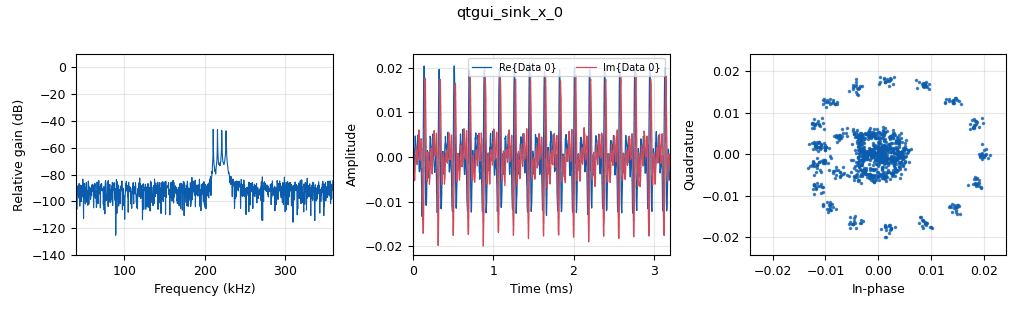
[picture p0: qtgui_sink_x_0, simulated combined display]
options:
  parameters:
    author: Bao Trong Truong
    generate_options: qt_gui
    id: distancewithvariableblock
    output_language: python
    title: Distance via variable
  states: {}

blocks:
- name: distance1_sq
  id: variable
  parameters:
    value: (x1-x_ref)**2 +(y1-y_ref)**2
  states: {}
- name: distance2_sq
  id: variable
  parameters:
    value: (x2-x_ref)**2 +(y2-y_ref)**2
  states: {}
- name: distance3_sq
  id: variable
  parameters:
    value: (x3-x_ref)**2 +(y3-y_ref)**2
  states: {}
- name: distance4_sq
  id: variable
  parameters:
    value: (x4-x_ref)**2 +(y4-y_ref)**2
  states: {}
- name: distance_1
  id: variable
  parameters:
    value: math.sqrt(distance1_sq)
  states: {}
- name: distance_2
  id: variable
  parameters:
    value: math.sqrt(distance2_sq)
  states: {}
- name: distance_3
  id: variable
  parameters:
    value: math.sqrt(distance3_sq)
  states: {}
- name: distance_4
  id: variable
  parameters:
    value: math.sqrt(distance4_sq)
  states: {}
- name: noise
  id: variable_qtgui_range
  parameters:
    label: noise
    start: '0'
    step: '10e-5'
    stop: '100e-4'
    value: '10e-4'
  states: {}
- name: samp_rate
  id: variable
  parameters:
    value: 3000e3
  states: {}
- name: x1
  id: variable
  parameters:
    value: '-10'
  states: {}
- name: x2
  id: variable
  parameters:
    value: '10'
  states: {}
- name: x3
  id: variable
  parameters:
    value: '10'
  states: {}
- name: x4
  id: variable
  parameters:
    value: '-10'
  states: {}
- name: x_ref
  id: variable_qtgui_range
  parameters:
    start: '-10'
    step: '1'
    stop: '10'
    value: '0'
  states: {}
- name: y1
  id: variable
  parameters:
    value: '10'
  states: {}
- name: y2
  id: variable
  parameters:
    value: '10'
  states: {}
- name: y3
  id: variable
  parameters:
    value: '-10'
  states: {}
- name: y4
  id: variable
  parameters:
    value: '-10'
  states: {}
- name: y_ref
  id: variable_qtgui_range
  parameters:
    start: '-10'
    step: '1'
    stop: '10'
    value: '0'
  states: {}
- name: Distance_From_Points_To_Ref_point
  id: qtgui_number_sink
  parameters:
    graph_type: qtgui.NUM_GRAPH_NONE
    label1: Distance 1
    label2: Distance 2
    label3: Distance 3
    label4: Distance 4
    nconnections: '4'
    type: float
  states: {}
- name: analog_const_source_x_0
  id: analog_const_source_x
  parameters:
    const: distance_1
    type: float
  states: {}
- name: analog_const_source_x_0_0
  id: analog_const_source_x
  parameters:
    const: distance_2
    type: float
  states: {}
- name: analog_const_source_x_0_0_0
  id: analog_const_source_x
  parameters:
    const: y2
    type: float
  states: {}
- name: analog_const_source_x_0_0_1
  id: analog_const_source_x
  parameters:
    const: y3
    type: float
  states: {}
- name: analog_const_source_x_0_0_2
  id: analog_const_source_x
  parameters:
    const: y4
    type: float
  states: {}
- name: analog_const_source_x_0_0_3
  id: analog_const_source_x
  parameters:
    const: y_ref
    type: float
  states: {}
- name: analog_const_source_x_0_0_4
  id: analog_const_source_x
  parameters:
    const: y1
    type: float
  states: {}
- name: analog_const_source_x_0_1
  id: analog_const_source_x
  parameters:
    const: distance_3
    type: float
  states: {}
- name: analog_const_source_x_0_1_0
  id: analog_const_source_x
  parameters:
    const: x2
    type: float
  states: {}
- name: analog_const_source_x_0_2
  id: analog_const_source_x
  parameters:
    const: distance_4
    type: float
  states: {}
- name: analog_const_source_x_0_2_0
  id: analog_const_source_x
  parameters:
    const: x3
    type: float
  states: {}
- name: analog_const_source_x_0_3
  id: analog_const_source_x
  parameters:
    const: x_ref
    type: float
  states: {}
- name: analog_const_source_x_0_3_0
  id: analog_const_source_x
  parameters:
    const: x4
    type: float
  states: {}
- name: analog_const_source_x_0_4
  id: analog_const_source_x
  parameters:
    const: x1
    type: float
  states: {}
- name: analog_noise_source_x_0
  id: analog_noise_source_x
  parameters:
    amp: noise
    noise_type: analog.GR_GAUSSIAN
    seed: '0'
    type: complex
  states: {}
- name: analog_sig_source_x_0
  id: analog_sig_source_x
  parameters:
    amp: '1'
    freq: 100e3
    offset: '0'
    phase: '0'
    samp_rate: samp_rate
    type: complex
    waveform: analog.GR_COS_WAVE
  states: {}
- name: analog_sig_source_x_0_0
  id: analog_sig_source_x
  parameters:
    amp: '1'
    freq: 150e3
    offset: '0'
    phase: '0'
    samp_rate: samp_rate
    type: complex
    waveform: analog.GR_COS_WAVE
  states: {}
- name: analog_sig_source_x_0_1
  id: analog_sig_source_x
  parameters:
    amp: '1'
    freq: 200e3
    offset: '0'
    phase: '0'
    samp_rate: samp_rate
    type: complex
    waveform: analog.GR_COS_WAVE
  states: {}
- name: analog_sig_source_x_0_2
  id: analog_sig_source_x
  parameters:
    amp: '1'
    freq: 250e3
    offset: '0'
    phase: '0'
    samp_rate: samp_rate
    type: complex
    waveform: analog.GR_COS_WAVE
  states: {}
- name: blocks_add_xx_1
  id: blocks_add_xx
  parameters:
    num_inputs: '5'
    type: complex
  states: {}
- name: blocks_multiply_const_vxx_1
  id: blocks_multiply_const_vxx
  parameters:
    const: 1/(distance1_sq)
    type: complex
  states: {}
- name: blocks_multiply_const_vxx_1_0
  id: blocks_multiply_const_vxx
  parameters:
    const: 1/(distance2_sq)
    type: complex
  states: {}
- name: blocks_multiply_const_vxx_1_1
  id: blocks_multiply_const_vxx
  parameters:
    const: 1/(distance3_sq)
    type: complex
  states: {}
- name: blocks_multiply_const_vxx_1_2
  id: blocks_multiply_const_vxx
  parameters:
    const: 1/(distance4_sq)
    type: complex
  states: {}
- name: blocks_throttle2_0
  id: blocks_throttle2
  parameters:
    samples_per_second: samp_rate
    type: complex
  states: {}
- name: blocks_throttle2_0_0
  id: blocks_throttle2
  parameters:
    samples_per_second: samp_rate
    type: complex
  states: {}
- name: blocks_throttle2_0_1
  id: blocks_throttle2
  parameters:
    samples_per_second: samp_rate
    type: complex
  states: {}
- name: blocks_throttle2_0_2
  id: blocks_throttle2
  parameters:
    samples_per_second: samp_rate
    type: complex
  states: {}
- name: import_0
  id: import
  parameters:
    imports: import math
  states: {}
- name: note_0
  id: note
  parameters:
    note: Point 4
  states: {}
- name: note_0_0
  id: note
  parameters:
    note: Point 1
  states: {}
- name: note_0_1
  id: note
  parameters:
    note: Point 3
  states: {}
- name: note_0_2
  id: note
  parameters:
    note: Point 2
  states: {}
- name: note_0_3
  id: note
  parameters:
    note: Reference point
  states: {}
- name: note_1
  id: note
  parameters:
    note: distance_1
  states: {}
- name: note_1_0
  id: note
  parameters:
    note: distance_2
  states: {}
- name: note_1_1
  id: note
  parameters:
    note: distance_3
  states: {}
- name: note_1_2
  id: note
  parameters:
    note: distance_4
  states: {}
- name: note_2
  id: note
  parameters:
    note: observe distances from ref_point
  states: {}
- name: note_3
  id: note
  parameters:
    note: 1/distance_sq
  states: {}
- name: note_3_0
  id: note
  parameters:
    note: 1/distance_sq
  states: {}
- name: note_3_1
  id: note
  parameters:
    note: 1/distance_sq
  states: {}
- name: note_3_2
  id: note
  parameters:
    note: 1/distance_sq
  states: {}
- name: point_coordinate_0
  id: point_coordinate
  parameters:
    samp_rate: '100'
  states: {}
- name: point_coordinate_0_0
  id: point_coordinate
  parameters:
    samp_rate: '100'
  states: {}
- name: point_coordinate_0_1
  id: point_coordinate
  parameters:
    samp_rate: '100'
  states: {}
- name: point_coordinate_0_2
  id: point_coordinate
  parameters:
    samp_rate: '100'
  states: {}
- name: point_coordinate_0_3
  id: point_coordinate
  parameters:
    samp_rate: '100'
  states: {}
- name: qtgui_const_sink_x_0
  id: qtgui_const_sink_x
  parameters:
    autoscale: 'True'
    color1: '"green"'
    color2: '"magenta"'
    color3: '"cyan"'
    color4: '"blue"'
    color5: '"red"'
    label1: Point1
    label2: Point2
    label3: Point3
    label4: Point4
    label5: Ref_point
    name: '"Graphic_observation"'
    nconnections: '5'
    size: '1024'
    type: complex
    xmax: '15'
    xmin: '-15'
    ymax: '15'
    ymin: '-15'
  states: {}
- name: qtgui_sink_x_0
  id: qtgui_sink_x
  parameters:
    bw: 320e3
    fc: 200e3
    fftsize: '1024'
    showrf: 'True'
    type: complex
    wintype: window.WIN_RECTANGULAR
  states: {}
- name: virtual_sink_0
  id: virtual_sink
  parameters:
    stream_id: signal1
  states: {}
- name: virtual_sink_0_0
  id: virtual_sink
  parameters:
    stream_id: signal2
  states: {}
- name: virtual_sink_0_1
  id: virtual_sink
  parameters:
    stream_id: signal3
  states: {}
- name: virtual_sink_0_2
  id: virtual_sink
  parameters:
    stream_id: signal4
  states: {}
- name: virtual_source_1
  id: virtual_source
  parameters:
    stream_id: signal3
  states: {}
- name: virtual_source_1_0
  id: virtual_source
  parameters:
    stream_id: signal1
  states: {}
- name: virtual_source_1_1
  id: virtual_source
  parameters:
    stream_id: signal4
  states: {}
- name: virtual_source_1_2
  id: virtual_source
  parameters:
    stream_id: signal2
  states: {}

connections:
- [analog_const_source_x_0, '0', Distance_From_Points_To_Ref_point, '0']
- [analog_const_source_x_0_0, '0', Distance_From_Points_To_Ref_point, '1']
- [analog_const_source_x_0_0_0, '0', point_coordinate_0_0, '1']
- [analog_const_source_x_0_0_1, '0', point_coordinate_0_1, '1']
- [analog_const_source_x_0_0_2, '0', point_coordinate_0_2, '1']
- [analog_const_source_x_0_0_3, '0', point_coordinate_0_3, '1']
- [analog_const_source_x_0_0_4, '0', point_coordinate_0, '1']
- [analog_const_source_x_0_1, '0', Distance_From_Points_To_Ref_point, '2']
- [analog_const_source_x_0_1_0, '0', point_coordinate_0_0, '0']
- [analog_const_source_x_0_2, '0', Distance_From_Points_To_Ref_point, '3']
- [analog_const_source_x_0_2_0, '0', point_coordinate_0_1, '0']
- [analog_const_source_x_0_3, '0', point_coordinate_0_3, '0']
- [analog_const_source_x_0_3_0, '0', point_coordinate_0_2, '0']
- [analog_const_source_x_0_4, '0', point_coordinate_0, '0']
- [analog_noise_source_x_0, '0', blocks_add_xx_1, '4']
- [analog_sig_source_x_0, '0', blocks_multiply_const_vxx_1, '0']
- [analog_sig_source_x_0_0, '0', blocks_multiply_const_vxx_1_0, '0']
- [analog_sig_source_x_0_1, '0', blocks_multiply_const_vxx_1_1, '0']
- [analog_sig_source_x_0_2, '0', blocks_multiply_const_vxx_1_2, '0']
- [blocks_add_xx_1, '0', qtgui_sink_x_0, '0']
- [blocks_multiply_const_vxx_1, '0', virtual_sink_0, '0']
- [blocks_multiply_const_vxx_1_0, '0', virtual_sink_0_0, '0']
- [blocks_multiply_const_vxx_1_1, '0', virtual_sink_0_1, '0']
- [blocks_multiply_const_vxx_1_2, '0', virtual_sink_0_2, '0']
- [blocks_throttle2_0, '0', blocks_add_xx_1, '0']
- [blocks_throttle2_0_0, '0', blocks_add_xx_1, '1']
- [blocks_throttle2_0_1, '0', blocks_add_xx_1, '2']
- [blocks_throttle2_0_2, '0', blocks_add_xx_1, '3']
- [point_coordinate_0, '0', qtgui_const_sink_x_0, '0']
- [point_coordinate_0_0, '0', qtgui_const_sink_x_0, '1']
- [point_coordinate_0_1, '0', qtgui_const_sink_x_0, '2']
- [point_coordinate_0_2, '0', qtgui_const_sink_x_0, '3']
- [point_coordinate_0_3, '0', qtgui_const_sink_x_0, '4']
- [virtual_source_1, '0', blocks_throttle2_0_1, '0']
- [virtual_source_1_0, '0', blocks_throttle2_0, '0']
- [virtual_source_1_1, '0', blocks_throttle2_0_2, '0']
- [virtual_source_1_2, '0', blocks_throttle2_0_0, '0']

metadata:
  file_format: 1
  grc_version: 3.10.7.0
